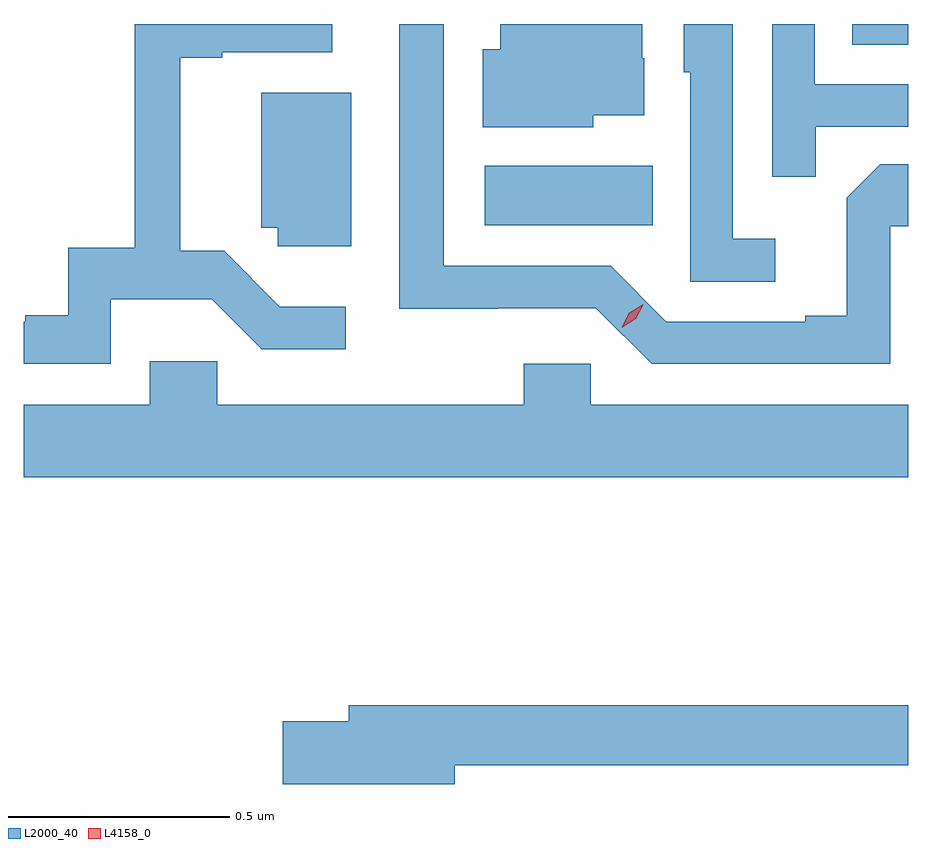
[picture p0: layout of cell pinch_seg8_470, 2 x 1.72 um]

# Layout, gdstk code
import gdstk
lib = gdstk.Library(unit=1e-6, precision=1e-09)
def R(c, l, rs):  # rectangles x0, y0, x1, y1
    for r in rs: c.add(gdstk.rectangle(r[:2], r[2:], *l))
def P(c, l, *ps):  # polygons
    for p in ps: c.add(gdstk.Polygon(p, *l))
L2000_40 = (2000, 40)
L4158_0 = (4158, 0)

pinch_seg8_470 = lib.new_cell('pinch_seg8_470')
R(pinch_seg8_470, L2000_40, [(195.984,1123.73,196.364,1123.864), (196.816,1124.138,196.942,1124.185)])
P(pinch_seg8_470, L2000_40, [(196.902,1123.728),(196.942,1123.728),(196.942,1123.868),(196.879,1123.868),(196.803,1123.792),(196.803,1123.525),(196.709,1123.525),(196.709,1123.512),(196.395,1123.512),(196.269,1123.638),(195.892,1123.638),(195.892,1124.185),(195.791,1124.185),(195.791,1123.541),(196.014,1123.541),(196.014,1123.542),(196.236,1123.542),(196.362,1123.416),(196.902,1123.416)],
  [(195.138,1123.562),(195.367,1123.562),(195.48,1123.449),(195.67,1123.449),(195.67,1123.546),(195.521,1123.546),(195.395,1123.672),(195.296,1123.672),(195.296,1124.109),(195.391,1124.109),(195.391,1124.121),(195.64,1124.121),(195.64,1124.185),(195.193,1124.185),(195.193,1123.679),(195.042,1123.679),(195.042,1123.526),(194.945,1123.526),(194.945,1123.512),(194.942,1123.512),(194.942,1123.416),(195.138,1123.416)],
  [(196.23,1123.979),(196.345,1123.979),(196.345,1124.108),(196.341,1124.108),(196.341,1124.185),(196.019,1124.185),(196.019,1124.128),(195.98,1124.128),(195.98,1123.952),(196.23,1123.952)],
  [(196.733,1123.953),(196.942,1123.953),(196.942,1124.049),(196.731,1124.049),(196.731,1124.185),(196.635,1124.185),(196.635,1123.84),(196.733,1123.84)],
  [(196.642,1123.699),(196.545,1123.699),(196.545,1124.185),(196.434,1124.185),(196.434,1124.076),(196.449,1124.076),(196.449,1123.602),(196.642,1123.602)],
  [(195.682,1124.029),(195.479,1124.029),(195.479,1123.724),(195.516,1123.724),(195.516,1123.682),(195.682,1123.682)],
  [(196.942,1123.324),(196.224,1123.324),(196.224,1123.417),(196.073,1123.417),(196.073,1123.324),(195.379,1123.324),(195.379,1123.422),(195.227,1123.422),(195.227,1123.324),(194.942,1123.324),(194.942,1123.16),(196.942,1123.16)],
  [(195.916,1122.508),(196.942,1122.508),(196.942,1122.644),(195.677,1122.644),(195.677,1122.608),(195.528,1122.608),(195.528,1122.466),(195.916,1122.466)])
P(pinch_seg8_470, L4158_0, [(196.294,1123.498),(196.294,1123.499),(196.311,1123.532),(196.343,1123.551),(196.343,1123.551),(196.343,1123.55),(196.326,1123.518),(196.294,1123.498)])

lib.write_gds('pinch_seg8_470.gds')
